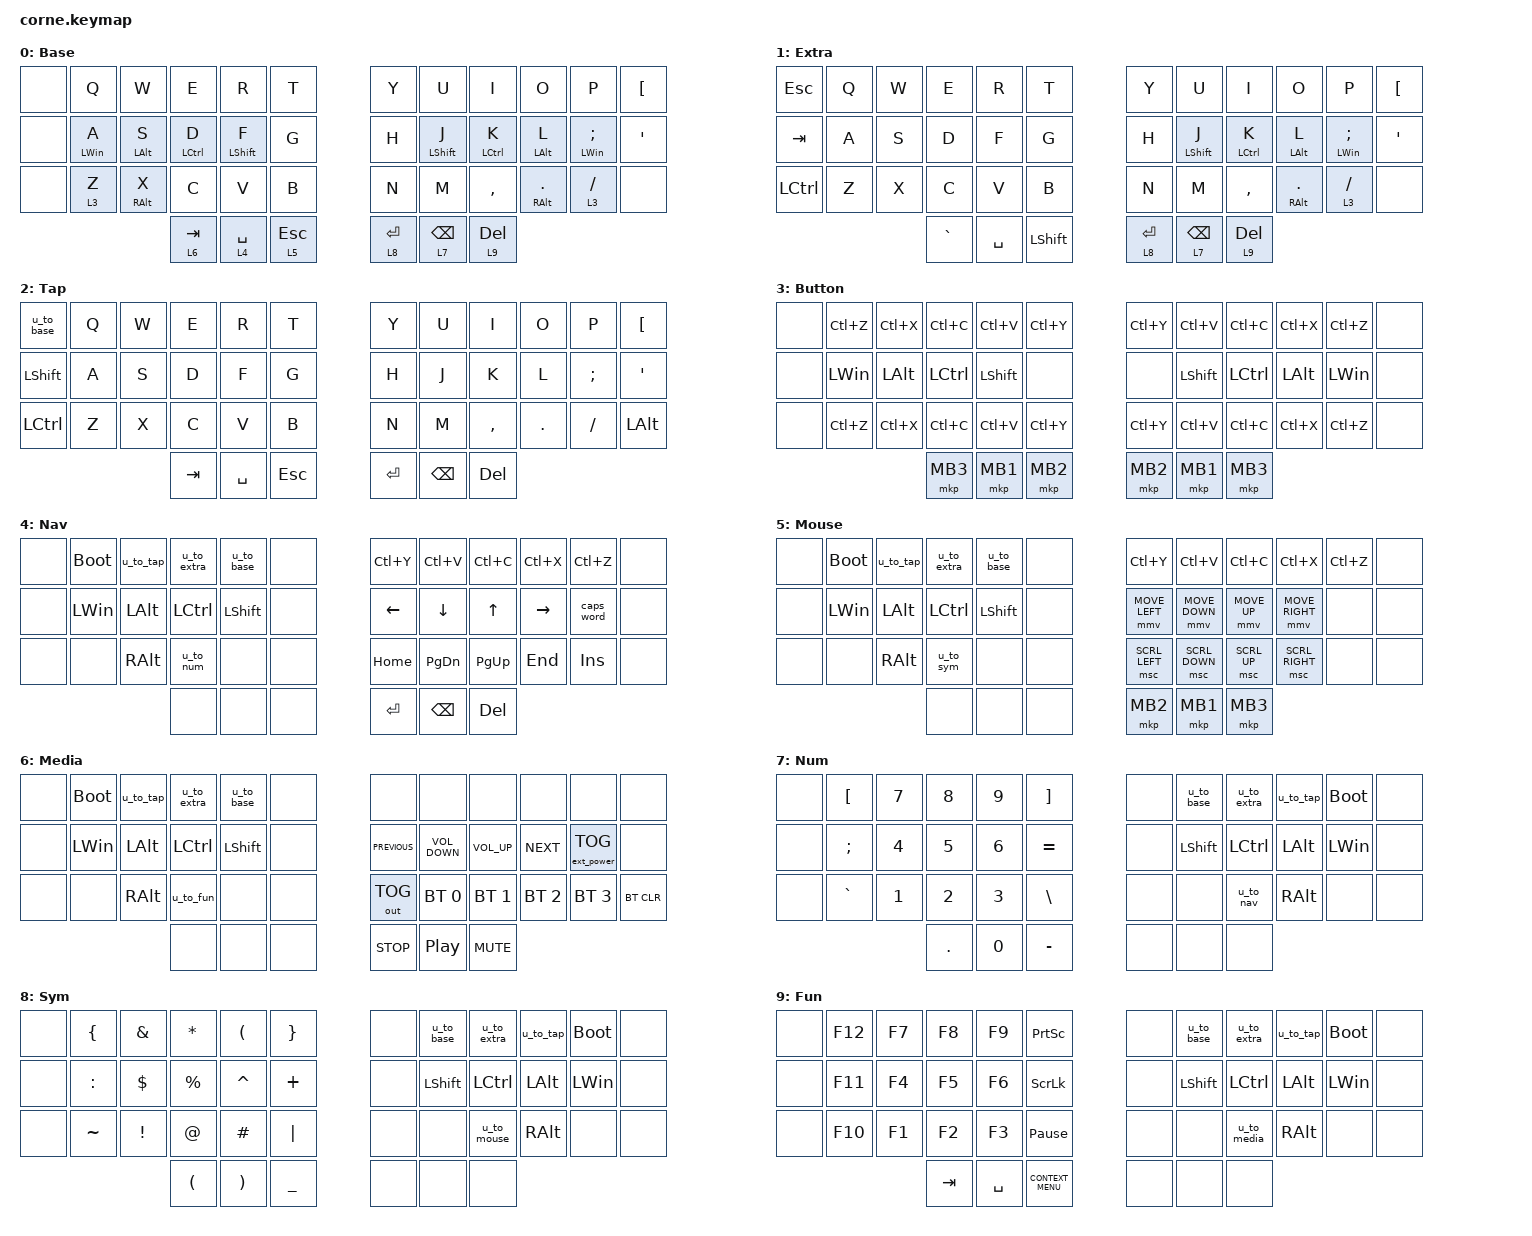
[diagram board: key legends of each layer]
/*
 * Copyright (c) 2020 The ZMK Contributors
 *
 * SPDX-License-Identifier: MIT
 */

#include <behaviors.dtsi>
#include <dt-bindings/zmk/bt.h>
#include <dt-bindings/zmk/ext_power.h>
#include <dt-bindings/zmk/keys.h>
#include <dt-bindings/zmk/outputs.h>
#include <dt-bindings/zmk/pointing.h>

/ {
    behaviors {
        u_lt: layer_tap {
            compatible = "zmk,behavior-hold-tap";
            display-name = "Layer-Tap";
            bindings = <&mo>, <&kp>;

            #binding-cells = <2>;
            tapping-term-ms = <200>;
            flavor = "balanced";
            require-prior-idle-ms = <150>;
            quick-tap-ms = <175>;
        };

        u_to_tap: double_tap_to_tap {
            compatible = "zmk,behavior-tap-dance";
            display-name = "Doublt-Tap to Tap";
            #binding-cells = <0>;
            bindings = <&none>, <&to 2>;
        };

        u_to_extra: double_tap_to_extra {
            compatible = "zmk,behavior-tap-dance";
            display-name = "Double-Tap to Extra";
            #binding-cells = <0>;
            bindings = <&none>, <&to 1>;
        };

        u_to_base: double_tap_to_base {
            compatible = "zmk,behavior-tap-dance";
            display-name = "Double-Tap to Base";
            #binding-cells = <0>;
            bindings = <&none>, <&to 0>;
        };

        u_to_num: double_tap_to_num {
            compatible = "zmk,behavior-tap-dance";
            display-name = "Double-Tap to Num";
            #binding-cells = <0>;
            bindings = <&none>, <&to 7>;
        };

        u_to_nav: double_tap_to_nav {
            compatible = "zmk,behavior-tap-dance";
            display-name = "Double-Tap to Nav";
            #binding-cells = <0>;
            bindings = <&none>, <&to 4>;
        };

        u_to_sym: double_tap_to_sym {
            compatible = "zmk,behavior-tap-dance";
            display-name = "Double-Tap to Sym";
            #binding-cells = <0>;
            bindings = <&none>, <&to 8>;
        };

        u_to_mouse: double_tap_to_mouse {
            compatible = "zmk,behavior-tap-dance";
            display-name = "Double-Tap to Mouse";
            #binding-cells = <0>;
            bindings = <&none>, <&to 5>;
        };

        u_to_fun: double_tap_to_fun {
            compatible = "zmk,behavior-tap-dance";
            display-name = "Double-Tap to Fun";
            #binding-cells = <0>;
            bindings = <&none>, <&to 9>;
        };

        u_to_media: double_tap_to_media {
            compatible = "zmk,behavior-tap-dance";
            display-name = "Double-Tap to Media";
            #binding-cells = <0>;
            bindings = <&none>, <&to 6>;
        };

        u_hml: home_row_mod_left {
            compatible = "zmk,behavior-hold-tap";
            bindings = <&kp>, <&kp>;

            #binding-cells = <2>;
            tapping-term-ms = <280>;
            quick-tap-ms = <175>;
            require-prior-idle-ms = <150>;
            flavor = "balanced";
            hold-trigger-on-release;
            hold-trigger-key-positions = <6 18 30 7 19 31 8 20 32 9 21 33 10 22 34 11 23 35 6 7 8 9 10 11 18 19 20 21 22 23 30 31 32 33 34 35 41 40 39>;
        };

        u_hmr: home_row_mod_right {
            compatible = "zmk,behavior-hold-tap";
            bindings = <&kp>, <&kp>;

            #binding-cells = <2>;
            tapping-term-ms = <280>;
            quick-tap-ms = <175>;
            require-prior-idle-ms = <150>;
            flavor = "balanced";
            hold-trigger-on-release;
            hold-trigger-key-positions = <0 1 2 3 4 5 12 13 14 15 16 17 24 25 26 27 28 29 36 37 38>;
        };
    };

    keymap {
        compatible = "zmk,keymap";

        BASE {
            bindings = <
&none  &kp Q              &kp W               &kp E                  &kp R                &kp T             &kp Y           &kp U                &kp I                  &kp O                    &kp P                      &kp LEFT_BRACKET
&none  &u_hml LEFT_WIN A  &u_hml LEFT_ALT S   &u_hml LEFT_CONTROL D  &u_hml LEFT_SHIFT F  &kp G             &kp H           &u_hmr LEFT_SHIFT J  &u_hmr LEFT_CONTROL K  &u_hmr LEFT_ALT L        &u_hmr LEFT_WIN SEMICOLON  &kp SINGLE_QUOTE
&none  &u_lt 3 Z          &u_hml RIGHT_ALT X  &kp C                  &kp V                &kp B             &kp N           &kp M                &kp COMMA              &u_hmr RIGHT_ALT PERIOD  &u_lt 3 SLASH              &none
                                              &u_lt 6 TAB            &u_lt 4 SPACE        &u_lt 5 ESCAPE    &u_lt 8 RETURN  &u_lt 7 BACKSPACE    &u_lt 9 DELETE
            >;

            display-name = "Base";
        };

        EXTRA {
            bindings = <
&kp ESCAPE        &kp Q  &kp W  &kp E      &kp R      &kp T             &kp Y          &kp U                &kp I                  &kp O                    &kp P                      &kp LBKT
&kp TAB           &kp A  &kp S  &kp D      &kp F      &kp G             &kp H          &u_hmr LEFT_SHIFT J  &u_hmr LEFT_CONTROL K  &u_hmr LEFT_ALT L        &u_hmr LEFT_WIN SEMICOLON  &kp APOS
&kp LEFT_CONTROL  &kp Z  &kp X  &kp C      &kp V      &kp B             &kp N          &kp M                &kp COMMA              &u_hmr RIGHT_ALT PERIOD  &u_lt 3 SLASH              &none
                                &kp GRAVE  &kp SPACE  &kp LEFT_SHIFT    &u_lt 8 ENTER  &u_lt 7 BACKSPACE    &u_lt 9 DELETE
            >;

            display-name = "Extra";
        };

        TAP {
            bindings = <
&u_to_base        &kp Q  &kp W  &kp E    &kp R      &kp T         &kp Y      &kp U     &kp I       &kp O    &kp P     &kp LBKT
&kp LEFT_SHIFT    &kp A  &kp S  &kp D    &kp F      &kp G         &kp H      &kp J     &kp K       &kp L    &kp SEMI  &kp APOS
&kp LEFT_CONTROL  &kp Z  &kp X  &kp C    &kp V      &kp B         &kp N      &kp M     &kp COMMA   &kp DOT  &kp FSLH  &kp LEFT_ALT
                                &kp TAB  &kp SPACE  &kp ESCAPE    &kp ENTER  &kp BSPC  &kp DELETE
            >;

            display-name = "Tap";
        };

        BUTTON {
            bindings = <
&none  &kp LC(Z)     &kp LC(X)     &kp LC(C)         &kp LC(V)       &kp LC(Y)    &kp LC(Y)  &kp LC(V)       &kp LC(C)         &kp LC(X)     &kp LC(Z)     &none
&none  &kp LEFT_WIN  &kp LEFT_ALT  &kp LEFT_CONTROL  &kp LEFT_SHIFT  &none        &none      &kp LEFT_SHIFT  &kp LEFT_CONTROL  &kp LEFT_ALT  &kp LEFT_WIN  &none
&none  &kp LC(Z)     &kp LC(X)     &kp LC(C)         &kp LC(V)       &kp LC(Y)    &kp LC(Y)  &kp LC(V)       &kp LC(C)         &kp LC(X)     &kp LC(Z)     &none
                                   &mkp MB3          &mkp MB1        &mkp MB2     &mkp MB2   &mkp MB1        &mkp MB3
            >;

            display-name = "Button";
        };

        NAV {
            bindings = <
&none  &bootloader   &u_to_tap      &u_to_extra       &u_to_base      &none    &kp LC(Y)       &kp LC(V)       &kp LC(C)     &kp LC(X)        &kp LC(Z)   &none
&none  &kp LEFT_WIN  &kp LEFT_ALT   &kp LEFT_CONTROL  &kp LEFT_SHIFT  &none    &kp LEFT_ARROW  &kp DOWN_ARROW  &kp UP_ARROW  &kp RIGHT_ARROW  &caps_word  &none
&none  &none         &kp RIGHT_ALT  &u_to_num         &none           &none    &kp HOME        &kp PAGE_DOWN   &kp PAGE_UP   &kp END          &kp INSERT  &none
                                    &none             &none           &none    &kp RETURN      &kp BACKSPACE   &kp DELETE
            >;

            display-name = "Nav";
        };

        MOUSE {
            bindings = <
&none  &bootloader   &u_to_tap      &u_to_extra       &u_to_base      &none    &kp LC(Y)       &kp LC(V)       &kp LC(C)     &kp LC(X)        &kp LC(Z)  &none
&none  &kp LEFT_WIN  &kp LEFT_ALT   &kp LEFT_CONTROL  &kp LEFT_SHIFT  &none    &mmv MOVE_LEFT  &mmv MOVE_DOWN  &mmv MOVE_UP  &mmv MOVE_RIGHT  &none      &none
&none  &none         &kp RIGHT_ALT  &u_to_sym         &none           &none    &msc SCRL_LEFT  &msc SCRL_DOWN  &msc SCRL_UP  &msc SCRL_RIGHT  &none      &none
                                    &none             &none           &none    &mkp MB2        &mkp MB1        &mkp MB3
            >;

            display-name = "Mouse";
        };

        MEDIA {
            bindings = <
&none  &bootloader   &u_to_tap      &u_to_extra       &u_to_base      &none    &none           &none              &none            &none         &none              &none
&none  &kp LEFT_WIN  &kp LEFT_ALT   &kp LEFT_CONTROL  &kp LEFT_SHIFT  &none    &kp C_PREVIOUS  &kp C_VOLUME_DOWN  &kp C_VOLUME_UP  &kp C_NEXT    &ext_power EP_TOG  &none
&none  &none         &kp RIGHT_ALT  &u_to_fun         &none           &none    &out OUT_TOG    &bt BT_SEL 0       &bt BT_SEL 1     &bt BT_SEL 2  &bt BT_SEL 3       &bt BT_CLR
                                    &none             &none           &none    &kp C_STOP      &kp C_PLAY_PAUSE   &kp C_MUTE
            >;

            display-name = "Media";
        };

        NUM {
            bindings = <
&none  &kp LEFT_BRACKET  &kp N7  &kp N8      &kp N9  &kp RIGHT_BRACKET    &none  &u_to_base      &u_to_extra       &u_to_tap      &bootloader   &none
&none  &kp SEMICOLON     &kp N4  &kp N5      &kp N6  &kp EQUAL            &none  &kp LEFT_SHIFT  &kp LEFT_CONTROL  &kp LEFT_ALT   &kp LEFT_WIN  &none
&none  &kp GRAVE         &kp N1  &kp N2      &kp N3  &kp BACKSLASH        &none  &none           &u_to_nav         &kp RIGHT_ALT  &none         &none
                                 &kp PERIOD  &kp N0  &kp MINUS            &none  &none           &none
            >;

            display-name = "Num";
        };

        SYM {
            bindings = <
&none  &kp LEFT_BRACE  &kp AMPERSAND    &kp ASTERISK          &kp LEFT_PARENTHESIS   &kp RIGHT_BRACE    &none  &u_to_base      &u_to_extra       &u_to_tap      &bootloader   &none
&none  &kp COLON       &kp DOLLAR       &kp PERCENT           &kp CARET              &kp PLUS           &none  &kp LEFT_SHIFT  &kp LEFT_CONTROL  &kp LEFT_ALT   &kp LEFT_WIN  &none
&none  &kp TILDE       &kp EXCLAMATION  &kp AT                &kp HASH               &kp PIPE           &none  &none           &u_to_mouse       &kp RIGHT_ALT  &none         &none
                                        &kp LEFT_PARENTHESIS  &kp RIGHT_PARENTHESIS  &kp UNDERSCORE     &none  &none           &none
            >;

            display-name = "Sym";
        };

        FUN {
            bindings = <
&none  &kp F12  &kp F7  &kp F8   &kp F9     &kp PRINTSCREEN       &none  &u_to_base      &u_to_extra       &u_to_tap      &bootloader   &none
&none  &kp F11  &kp F4  &kp F5   &kp F6     &kp SCROLLLOCK        &none  &kp LEFT_SHIFT  &kp LEFT_CONTROL  &kp LEFT_ALT   &kp LEFT_WIN  &none
&none  &kp F10  &kp F1  &kp F2   &kp F3     &kp PAUSE_BREAK       &none  &none           &u_to_media       &kp RIGHT_ALT  &none         &none
                        &kp TAB  &kp SPACE  &kp K_CONTEXT_MENU    &none  &none           &none
            >;

            display-name = "Fun";
        };
    };
};
